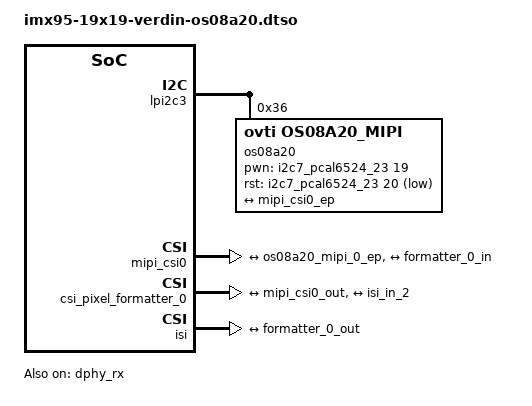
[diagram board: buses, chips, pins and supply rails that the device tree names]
// SPDX-License-Identifier: (GPL-2.0+ OR MIT)
/*
 * Copyright 2024 NXP
 */

/dts-v1/;
/plugin/;

#include <dt-bindings/clock/fsl,imx95-clock.h>
#include <dt-bindings/gpio/gpio.h>
#include "imx95-pinfunc.h"

&scmi_iomuxc {
	pinctrl_csi_mclk: csi_mclk {
		fsl,pins = <
			IMX95_PAD_CCM_CLKO1__CCMSRCGPCMIX_TOP_CLKO_1	0x39e
		>;
	};
};

&lpi2c3 {
	#address-cells = <1>;
	#size-cells = <0>;
	status = "okay";

	/delete-node/ pca9632;
	/delete-node/ i2c3_gpio_expander_20;

	os08a20: os08a20_mipi@36 {
		compatible = "ovti,os08a20_mipi";
		reg = <0x36>;
		pinctrl-names = "default";
		pinctrl-0 = <&pinctrl_csi_mclk>;
		clocks = <&scmi_clk IMX95_CLK_CCMCKO1>;
		clock-names = "csi_mclk";
		assigned-clocks = <&scmi_clk IMX95_CLK_CCMCKO1>;
		assigned-clock-parents = <&scmi_clk IMX95_CLK_24M>;
		assigned-clock-rates = <24000000>;
		csi_id = <0>;
		pwn-gpios = <&i2c7_pcal6524_23 19 GPIO_ACTIVE_HIGH>;
		rst-gpios = <&i2c7_pcal6524_23 20 GPIO_ACTIVE_LOW>;
		mclk = <24000000>;
		mclk_source = <0>;
		status = "okay";

		port {
			os08a20_mipi_0_ep: endpoint {
				remote-endpoint = <&mipi_csi0_ep>;
				data-lanes = <1 2 3 4>;
				clock-lanes = <0>;
			};
		};
	};
};

&dphy_rx {
	status = "okay";
};

&mipi_csi0 {
	status = "okay";

	ports {
		#address-cells = <1>;
		#size-cells = <0>;

		port@0 {
			reg = <0>;
			mipi_csi0_ep: endpoint {
				remote-endpoint = <&os08a20_mipi_0_ep>;
				data-lanes = <1 2 3 4>;
				clock-lanes = <0>;
			};
		};

		port@1 {
			reg = <1>;
				mipi_csi0_out: endpoint {
				remote-endpoint = <&formatter_0_in>;
			};
		};
	};
};

&csi_pixel_formatter_0 {
	status = "okay";

	ports {
		#address-cells = <1>;
		#size-cells = <0>;

		port@0 {
			reg = <0>;

			formatter_0_in: endpoint {
				remote-endpoint = <&mipi_csi0_out>;
			};
		};

		port@1 {
			reg = <1>;

			formatter_0_out: endpoint {
				remote-endpoint = <&isi_in_2>;
			};
		};
	};
};

&isi {
	status = "okay";

	ports {
		#address-cells = <1>;
		#size-cells = <0>;

		port@2 {
			reg = <2>;

			isi_in_2: endpoint {
				remote-endpoint = <&formatter_0_out>;
			};
		};
	};
};
